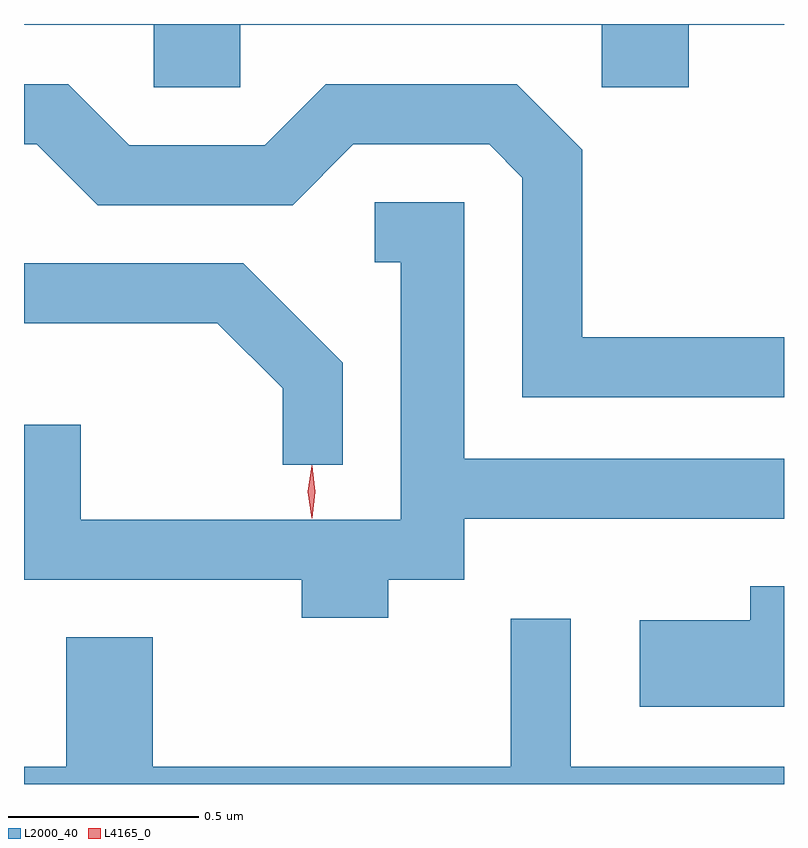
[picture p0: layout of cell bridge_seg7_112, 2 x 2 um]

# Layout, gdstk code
import gdstk
lib = gdstk.Library(unit=1e-6, precision=1e-09)
def P(c, l, *ps):  # polygons
    for p in ps: c.add(gdstk.Polygon(p, *l))
L2000_40 = (2000, 40)
L4165_0 = (4165, 0)

bridge_seg7_112 = lib.new_cell('bridge_seg7_112')
P(bridge_seg7_112, L2000_40, [(1584.13,1767.596),(1584.471,1767.596),(1584.471,1767.431),(1584.699,1767.431),(1584.699,1767.596),(1585.651,1767.596),(1585.651,1767.431),(1585.879,1767.431),(1585.879,1767.596),(1586.13,1767.596),(1586.13,1767.598),(1584.13,1767.598)],
  [(1586.13,1766.774),(1585.599,1766.774),(1585.599,1767.267),(1585.427,1767.439),(1584.924,1767.439),(1584.764,1767.279),(1584.407,1767.279),(1584.247,1767.439),(1584.13,1767.439),(1584.13,1767.281),(1584.164,1767.281),(1584.324,1767.121),(1584.837,1767.121),(1584.997,1767.281),(1585.354,1767.281),(1585.441,1767.194),(1585.441,1766.616),(1586.13,1766.616)],
  [(1585.089,1766.136),(1585.289,1766.136),(1585.289,1766.296),(1586.13,1766.296),(1586.13,1766.454),(1585.289,1766.454),(1585.289,1767.129),(1585.053,1767.129),(1585.053,1766.971),(1585.121,1766.971),(1585.121,1766.294),(1584.279,1766.294),(1584.279,1766.544),(1584.13,1766.544),(1584.13,1766.136),(1584.861,1766.136),(1584.861,1766.036),(1585.089,1766.036)],
  [(1584.969,1766.707),(1584.707,1766.969),(1584.13,1766.969),(1584.13,1766.811),(1584.639,1766.811),(1584.811,1766.639),(1584.811,1766.438),(1584.969,1766.438)],
  [(1586.13,1766.119),(1586.041,1766.119),(1586.041,1766.029),(1585.751,1766.029),(1585.751,1765.801),(1586.13,1765.801)],
  [(1586.13,1765.644),(1585.569,1765.644),(1585.569,1766.033),(1585.411,1766.033),(1585.411,1765.644),(1584.469,1765.644),(1584.469,1765.984),(1584.241,1765.984),(1584.241,1765.644),(1584.13,1765.644),(1584.13,1765.598),(1586.13,1765.598)])
P(bridge_seg7_112, L4165_0, [(1584.887,1766.297),(1584.887,1766.298),(1584.877,1766.367),(1584.887,1766.436),(1584.887,1766.437),(1584.888,1766.436),(1584.897,1766.367),(1584.888,1766.298)])

lib.write_gds('bridge_seg7_112.gds')
